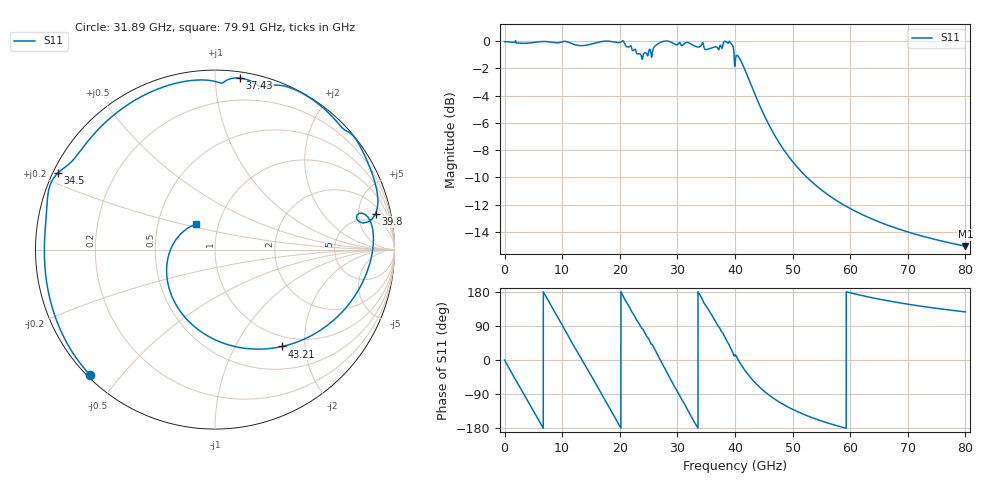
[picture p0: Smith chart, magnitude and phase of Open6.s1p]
# Hz S DB R 50
!Touchstone multiport model file <C:\work\PySI\TestSignalIntegrity\OysterSimulation\ResampledSimbeor\Open6.s1p>
!Created on 22 Aug 18, at 17:55:32.
!Created with Simbeor THz 2018.01(64bit) of Simberian Inc. built on Jul 20 2018
!Output from MultiportParameters of Simbeor.
!Multiport parameters: DataOrigin=Simulation DataOriginName="Project(1).Open6_resampled.LNS"
!RESAMPLED_RCM: Max_RMS_Error=0.0181526; FrqLow=0; FrqHigh=4e+10; MaxTimeResolution=1.25e-11; PassivityState=1; ReciprocityState=1; DataSource=" Âl°n"
!RATIONAL COMPACTOR: Precision: Normal; Extract Delay: ON; Extrapolate to DC: ON; Extrapolate to Infinity: OFF; Enforce Passivity: ON; Enforce Reciprocity: ON; Band Limit Factor: 1; Auto-Adjust Config: OFF
!Uncomment the following lines with keywords in square brakets to support IBIS forum specification 2.0.
![Version] 2.0 !This line should be the first in file, preceeding the line starting with #.
![Number of Ports] 1
![Number of Frequencies] 8001
![Reference] 50
!!!!Multiport descriptor profile: InputCount=1 TotalPortCount=1
!DescriptorOutline={DescriptorType=SMatrix InputSpace=Terminal NormalizationType=CommonZo NormalizationCommonZo=50 Ohm OutputFormat=DBMagnitudeAngle}
!InputProfile={Name="IO1" IsTLineInput=False InputNumber=1 PortCount=1 FirstPortNumber=1 InputSpace=Terminal BlockType=SBlock NormalizationType=CommonZo Zo=50}
!!!Global port number to input_name/local_port_number correspondence:
!Port 1 -> "IO1"/local_port_1 (terminal)
!!!!End of descriptor profile.
!Frequency Hz 20.0*log(|S[1,1]|) arg(S[1,1])
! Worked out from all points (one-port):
!   8000 points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, 10 MHz to 80 GHz, reference 50 ohm
!   lowest |S11| = -15.0 dB at 80 GHz (marker M1), VSWR 1.43, Z = 38.9 + j11.4 ohm
!   |S11| at or under -10 dB: 52.51 GHz to end of sweep
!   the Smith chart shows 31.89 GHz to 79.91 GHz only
!   S11 on the Smith chart (normalised r, x): 31.89 GHz: 0.01, -0.42; 34.5 GHz: 0.01, +0.23; 37.43 GHz: 0.04, +1.16; 39.8 GHz: 3.14, +7.82; 43.21 GHz: 0.83, -1.58; 79.91 GHz: 0.78, +0.23
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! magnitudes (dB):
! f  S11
! 10 MHz  0.0
! 10.01 GHz  -0.1
! 13.3 GHz  -0.3
! 17.25 GHz  0.0
! 20.01 GHz  -0.1
! 23.76 GHz  -1.1
! 25.66 GHz  -0.9
! 26.29 GHz  -0.3
! 27.41 GHz  0.0
! 30.01 GHz  -0.3
! 31.89 GHz  -0.1
! 34.5 GHz  -0.2
! 35.1 GHz  -0.6
! 37.43 GHz  -0.3
! 38.3 GHz  0.0
! 39.02 GHz  0.0
! 39.41 GHz  -0.2
! 39.8 GHz  -0.8
! 40.01 GHz  -1.7
! 40.98 GHz  -1.4
! 43.21 GHz  -3.6
! 46.48 GHz  -6.6
! 50.01 GHz  -8.8
! 54.48 GHz  -10.7
! 60.01 GHz  -12.3
! 70.01 GHz  -14.0
! 79.91 GHz  -15.0
! 80 GHz  -15.0
